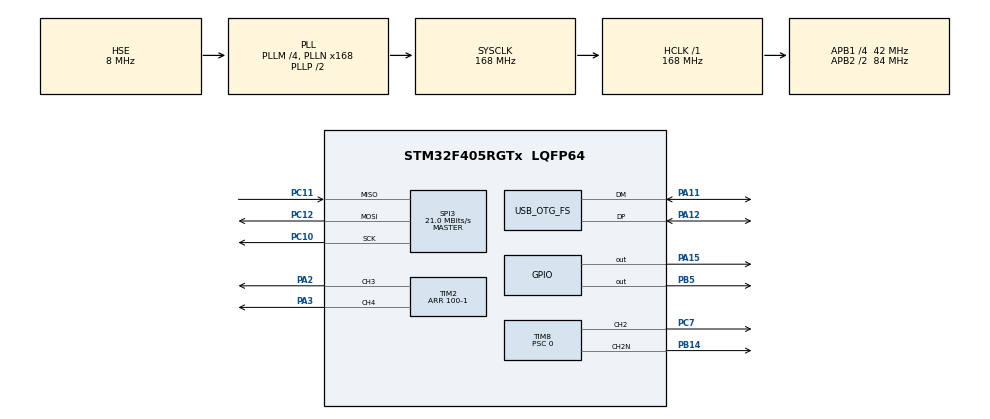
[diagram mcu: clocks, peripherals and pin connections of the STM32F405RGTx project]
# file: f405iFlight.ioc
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FREERTOS.Tasks01=defaultTask,24,128,StartDefaultTask,Default,NULL,Dynamic,NULL,NULL;UsbResponseTask,8,128,StartUsbResponseTask,Default,NULL,Dynamic,NULL,NULL
FREERTOS.configUSE_NEWLIB_REENTRANT=1
Mcu.Family=STM32F4
Mcu.Name=STM32F405RGTx
Mcu.Package=LQFP64
NVIC.OTG_FS_IRQn=true\:5\:0\:false\:false\:true\:true\:false\:true\:true
NVIC.PriorityGroup=NVIC_PRIORITYGROUP_4
PA11.Mode=Device_Only
PA11.Signal=USB_OTG_FS_DM
PA12.Mode=Device_Only
PA12.Signal=USB_OTG_FS_DP
PA15.Signal=GPIO_Output
PA2.Signal=S_TIM2_CH3
PA3.Signal=S_TIM2_CH4
PB14.Mode=PWM Generation2 CH2 CH2N
PB14.Signal=TIM8_CH2N
PB5.PinState=GPIO_PIN_SET
PB5.Signal=GPIO_Output
PC10.Mode=Full_Duplex_Master
PC10.Signal=SPI3_SCK
PC11.Mode=Full_Duplex_Master
PC11.Signal=SPI3_MISO
PC12.Mode=Full_Duplex_Master
PC12.Signal=SPI3_MOSI
PC7.Signal=S_TIM8_CH2
PH0-OSC_IN.Mode=HSE-External-Oscillator
PH0-OSC_IN.Signal=RCC_OSC_IN
PH1-OSC_OUT.Mode=HSE-External-Oscillator
PH1-OSC_OUT.Signal=RCC_OSC_OUT
ProjectManager.HeapSize=0x800
ProjectManager.StackSize=0x800
ProjectManager.TargetToolchain=STM32CubeIDE
RCC.48MHZClocksFreq_Value=48000000
RCC.AHBFreq_Value=168000000
RCC.APB1CLKDivider=RCC_HCLK_DIV4
RCC.APB1Freq_Value=42000000
RCC.APB1TimFreq_Value=84000000
RCC.APB2CLKDivider=RCC_HCLK_DIV2
RCC.APB2Freq_Value=84000000
RCC.APB2TimFreq_Value=168000000
RCC.CortexFreq_Value=168000000
RCC.HCLKFreq_Value=168000000
RCC.HSE_VALUE=8000000
RCC.HSI_VALUE=16000000
RCC.LSE_VALUE=32768
RCC.PLLM=4
RCC.PLLN=168
RCC.PLLQ=7
RCC.SYSCLKFreq_VALUE=168000000
RCC.SYSCLKSource=RCC_SYSCLKSOURCE_PLLCLK
RCC.VCOOutputFreq_Value=336000000
SH.S_TIM2_CH3.0=TIM2_CH3,PWM Generation3 CH3
SH.S_TIM2_CH4.0=TIM2_CH4,PWM Generation4 CH4
SH.S_TIM8_CH2.0=TIM8_CH2,PWM Generation2 CH2 CH2N
SPI3.CalculateBaudRate=21.0 MBits/s
SPI3.Direction=SPI_DIRECTION_2LINES
SPI3.Mode=SPI_MODE_MASTER
SPI3.VirtualType=VM_MASTER
TIM2.AutoReloadPreload=TIM_AUTORELOAD_PRELOAD_ENABLE
TIM2.Channel-PWM\ Generation3\ CH3=TIM_CHANNEL_3
TIM2.Channel-PWM\ Generation4\ CH4=TIM_CHANNEL_4
TIM2.ClockDivision=TIM_CLOCKDIVISION_DIV1
TIM2.Period=100-1
TIM2.Pulse-PWM\ Generation3\ CH3=50
TIM2.Pulse-PWM\ Generation4\ CH4=50
TIM8.AutoReloadPreload=TIM_AUTORELOAD_PRELOAD_DISABLE
TIM8.Channel-PWM\ Generation2\ CH2\ CH2N=TIM_CHANNEL_2
TIM8.DeadTime=13
TIM8.Period=1000
TIM8.Prescaler=0
TIM8.Pulse-PWM\ Generation2\ CH2\ CH2N=500
USB_DEVICE.CLASS_NAME_FS=CDC
USB_DEVICE.VirtualMode-CDC_FS=Cdc
USB_DEVICE.VirtualModeFS=Cdc_FS
USB_OTG_FS.VirtualMode=Device_Only
VP_FREERTOS_VS_CMSIS_V2.Mode=CMSIS_V2
VP_TIM2_VS_ClockSourceINT.Mode=Internal
VP_TIM8_VS_ClockSourceINT.Mode=Internal
VP_USB_DEVICE_VS_USB_DEVICE_CDC_FS.Mode=CDC_FS
board=custom

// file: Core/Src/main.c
/* USER CODE BEGIN Header */
/**
  ******************************************************************************
  * @file           : main.c
  * @brief          : Main program body
  ******************************************************************************
  * @attention
  *
  * Copyright (c) 2022 STMicroelectronics.
  * All rights reserved.
  *
  * This software is licensed under terms that can be found in the LICENSE file
  * in the root directory of this software component.
  * If no LICENSE file comes with this software, it is provided AS-IS.
  *
  ******************************************************************************
  */
/* USER CODE END Header */
#include "main.h"
#include "cmsis_os.h"
#include "usb_device.h"

/* USER CODE BEGIN Includes */
#include "usbd_cdc_if.h"
#include "drv_reset.h"
#include "w25qxx.h"
/* USER CODE END Includes */

/* USER CODE BEGIN PD */
#define DUTY_FLESH_OFFSET 0
#define FREQUENCY_FLESH_OFFSET 4
#define DEADTIME_FLESH_OFFSET 8
/* USER CODE END PD */

SPI_HandleTypeDef hspi3;

TIM_HandleTypeDef htim2;
TIM_HandleTypeDef htim8;

/* Definitions for defaultTask */
osThreadId_t defaultTaskHandle;
const osThreadAttr_t defaultTask_attributes = {
  .name = "defaultTask",
  .stack_size = 128 * 4,
  .priority = (osPriority_t) osPriorityNormal,
};
/* Definitions for UsbResponseTask */
osThreadId_t UsbResponseTaskHandle;
const osThreadAttr_t UsbResponseTask_attributes = {
  .name = "UsbResponseTask",
  .stack_size = 128 * 4,
  .priority = (osPriority_t) osPriorityLow,
};

void SystemClock_Config(void);
static void MX_GPIO_Init(void);
static void MX_TIM2_Init(void);
static void MX_TIM8_Init(void);
static void MX_SPI3_Init(void);
void StartDefaultTask(void *argument);
void StartUsbResponseTask(void *argument);

/* USER CODE BEGIN 0 */
extern uint8_t buffer[64];
static uint8_t responseBuffer[32];
static uint8_t fleshBuffer[4];
/* USER CODE END 0 */

int main(void)
{

  /* MCU Configuration--------------------------------------------------------*/

  /* Reset of all peripherals, Initializes the Flash interface and the Systick. */
  HAL_Init();

  /* Configure the system clock */
  SystemClock_Config();

  /* Initialize all configured peripherals */
  MX_GPIO_Init();
  MX_TIM2_Init();
  MX_TIM8_Init();
  MX_SPI3_Init();
  /* USER CODE BEGIN 2 */

//  HAL_TIM_PWM_Start(&htim8, TIM_CHANNEL_1);
//  HAL_TIMEx_PWMN_Start(&htim8, TIM_CHANNEL_1);
  HAL_TIM_PWM_Start(&htim8, TIM_CHANNEL_2);
  HAL_TIMEx_PWMN_Start(&htim8, TIM_CHANNEL_2);
//  HAL_TIM_PWM_Start(&htim8, TIM_CHANNEL_3);
//  HAL_TIMEx_PWMN_Start(&htim8, TIM_CHANNEL_3);

	HAL_TIM_Base_Start(&htim2);
	HAL_TIM_PWM_Start(&htim2, TIM_CHANNEL_3);
	HAL_TIM_PWM_Start(&htim2, TIM_CHANNEL_4);

  /* USER CODE END 2 */

  /* Init scheduler */
  osKernelInitialize();

  /* Create the thread(s) */
  /* creation of defaultTask */
  defaultTaskHandle = osThreadNew(StartDefaultTask, NULL, &defaultTask_attributes);

  /* creation of UsbResponseTask */
  UsbResponseTaskHandle = osThreadNew(StartUsbResponseTask, NULL, &UsbResponseTask_attributes);

  /* Start scheduler */
  osKernelStart();

  /* We should never get here as control is now taken by the scheduler */
  /* Infinite loop */
  while (1)
  {

  }
}

void SystemClock_Config(void)
{
  RCC_OscInitTypeDef RCC_OscInitStruct = {0};
  RCC_ClkInitTypeDef RCC_ClkInitStruct = {0};

  /** Configure the main internal regulator output voltage
  */
  __HAL_RCC_PWR_CLK_ENABLE();
  __HAL_PWR_VOLTAGESCALING_CONFIG(PWR_REGULATOR_VOLTAGE_SCALE1);

  /** Initializes the RCC Oscillators according to the specified parameters
  * in the RCC_OscInitTypeDef structure.
  */
  RCC_OscInitStruct.OscillatorType = RCC_OSCILLATORTYPE_HSE;
  RCC_OscInitStruct.HSEState = RCC_HSE_ON;
  RCC_OscInitStruct.PLL.PLLState = RCC_PLL_ON;
  RCC_OscInitStruct.PLL.PLLSource = RCC_PLLSOURCE_HSE;
  RCC_OscInitStruct.PLL.PLLM = 4;
  RCC_OscInitStruct.PLL.PLLN = 168;
  RCC_OscInitStruct.PLL.PLLP = RCC_PLLP_DIV2;
  RCC_OscInitStruct.PLL.PLLQ = 7;
  if (HAL_RCC_OscConfig(&RCC_OscInitStruct) != HAL_OK)
  {
    Error_Handler();
  }

  /** Initializes the CPU, AHB and APB buses clocks
  */
  RCC_ClkInitStruct.ClockType = RCC_CLOCKTYPE_HCLK|RCC_CLOCKTYPE_SYSCLK
                              |RCC_CLOCKTYPE_PCLK1|RCC_CLOCKTYPE_PCLK2;
  RCC_ClkInitStruct.SYSCLKSource = RCC_SYSCLKSOURCE_PLLCLK;
  RCC_ClkInitStruct.AHBCLKDivider = RCC_SYSCLK_DIV1;
  RCC_ClkInitStruct.APB1CLKDivider = RCC_HCLK_DIV4;
  RCC_ClkInitStruct.APB2CLKDivider = RCC_HCLK_DIV2;

  if (HAL_RCC_ClockConfig(&RCC_ClkInitStruct, FLASH_LATENCY_5) != HAL_OK)
  {
    Error_Handler();
  }
}

static void MX_SPI3_Init(void)
{

  /* SPI3 parameter configuration*/
  hspi3.Instance = SPI3;
  hspi3.Init.Mode = SPI_MODE_MASTER;
  hspi3.Init.Direction = SPI_DIRECTION_2LINES;
  hspi3.Init.DataSize = SPI_DATASIZE_8BIT;
  hspi3.Init.CLKPolarity = SPI_POLARITY_LOW;
  hspi3.Init.CLKPhase = SPI_PHASE_1EDGE;
  hspi3.Init.NSS = SPI_NSS_SOFT;
  hspi3.Init.BaudRatePrescaler = SPI_BAUDRATEPRESCALER_2;
  hspi3.Init.FirstBit = SPI_FIRSTBIT_MSB;
  hspi3.Init.TIMode = SPI_TIMODE_DISABLE;
  hspi3.Init.CRCCalculation = SPI_CRCCALCULATION_DISABLE;
  hspi3.Init.CRCPolynomial = 10;
  if (HAL_SPI_Init(&hspi3) != HAL_OK)
  {
    Error_Handler();
  }

}

static void MX_TIM2_Init(void)
{

  TIM_ClockConfigTypeDef sClockSourceConfig = {0};
  TIM_MasterConfigTypeDef sMasterConfig = {0};
  TIM_OC_InitTypeDef sConfigOC = {0};

  htim2.Instance = TIM2;
  htim2.Init.Prescaler = 0;
  htim2.Init.CounterMode = TIM_COUNTERMODE_UP;
  htim2.Init.Period = 100-1;
  htim2.Init.ClockDivision = TIM_CLOCKDIVISION_DIV1;
  htim2.Init.AutoReloadPreload = TIM_AUTORELOAD_PRELOAD_ENABLE;
  if (HAL_TIM_Base_Init(&htim2) != HAL_OK)
  {
    Error_Handler();
  }
  sClockSourceConfig.ClockSource = TIM_CLOCKSOURCE_INTERNAL;
  if (HAL_TIM_ConfigClockSource(&htim2, &sClockSourceConfig) != HAL_OK)
  {
    Error_Handler();
  }
  if (HAL_TIM_PWM_Init(&htim2) != HAL_OK)
  {
    Error_Handler();
  }
  sMasterConfig.MasterOutputTrigger = TIM_TRGO_RESET;
  sMasterConfig.MasterSlaveMode = TIM_MASTERSLAVEMODE_DISABLE;
  if (HAL_TIMEx_MasterConfigSynchronization(&htim2, &sMasterConfig) != HAL_OK)
  {
    Error_Handler();
  }
  sConfigOC.OCMode = TIM_OCMODE_PWM1;
  sConfigOC.Pulse = 50;
  sConfigOC.OCPolarity = TIM_OCPOLARITY_HIGH;
  sConfigOC.OCFastMode = TIM_OCFAST_DISABLE;
  if (HAL_TIM_PWM_ConfigChannel(&htim2, &sConfigOC, TIM_CHANNEL_3) != HAL_OK)
  {
    Error_Handler();
  }
  if (HAL_TIM_PWM_ConfigChannel(&htim2, &sConfigOC, TIM_CHANNEL_4) != HAL_OK)
  {
    Error_Handler();
  }
  HAL_TIM_MspPostInit(&htim2);

}

static void MX_TIM8_Init(void)
{

  TIM_ClockConfigTypeDef sClockSourceConfig = {0};
  TIM_MasterConfigTypeDef sMasterConfig = {0};
  TIM_OC_InitTypeDef sConfigOC = {0};
  TIM_BreakDeadTimeConfigTypeDef sBreakDeadTimeConfig = {0};

  htim8.Instance = TIM8;
  htim8.Init.Prescaler = 0;
  htim8.Init.CounterMode = TIM_COUNTERMODE_UP;
  htim8.Init.Period = 1000;
  htim8.Init.ClockDivision = TIM_CLOCKDIVISION_DIV1;
  htim8.Init.RepetitionCounter = 0;
  htim8.Init.AutoReloadPreload = TIM_AUTORELOAD_PRELOAD_DISABLE;
  if (HAL_TIM_Base_Init(&htim8) != HAL_OK)
  {
    Error_Handler();
  }
  sClockSourceConfig.ClockSource = TIM_CLOCKSOURCE_INTERNAL;
  if (HAL_TIM_ConfigClockSource(&htim8, &sClockSourceConfig) != HAL_OK)
  {
    Error_Handler();
  }
  if (HAL_TIM_PWM_Init(&htim8) != HAL_OK)
  {
    Error_Handler();
  }
  sMasterConfig.MasterOutputTrigger = TIM_TRGO_RESET;
  sMasterConfig.MasterSlaveMode = TIM_MASTERSLAVEMODE_DISABLE;
  if (HAL_TIMEx_MasterConfigSynchronization(&htim8, &sMasterConfig) != HAL_OK)
  {
    Error_Handler();
  }
  sConfigOC.OCMode = TIM_OCMODE_PWM1;
  sConfigOC.Pulse = 500;
  sConfigOC.OCPolarity = TIM_OCPOLARITY_HIGH;
  sConfigOC.OCNPolarity = TIM_OCNPOLARITY_HIGH;
  sConfigOC.OCFastMode = TIM_OCFAST_DISABLE;
  sConfigOC.OCIdleState = TIM_OCIDLESTATE_RESET;
  sConfigOC.OCNIdleState = TIM_OCNIDLESTATE_RESET;
  if (HAL_TIM_PWM_ConfigChannel(&htim8, &sConfigOC, TIM_CHANNEL_2) != HAL_OK)
  {
    Error_Handler();
  }
  sBreakDeadTimeConfig.OffStateRunMode = TIM_OSSR_DISABLE;
  sBreakDeadTimeConfig.OffStateIDLEMode = TIM_OSSI_DISABLE;
  sBreakDeadTimeConfig.LockLevel = TIM_LOCKLEVEL_OFF;
  sBreakDeadTimeConfig.DeadTime = 13;
  sBreakDeadTimeConfig.BreakState = TIM_BREAK_DISABLE;
  sBreakDeadTimeConfig.BreakPolarity = TIM_BREAKPOLARITY_HIGH;
  sBreakDeadTimeConfig.AutomaticOutput = TIM_AUTOMATICOUTPUT_DISABLE;
  if (HAL_TIMEx_ConfigBreakDeadTime(&htim8, &sBreakDeadTimeConfig) != HAL_OK)
  {
    Error_Handler();
  }
  HAL_TIM_MspPostInit(&htim8);

}

static void MX_GPIO_Init(void)
{
  GPIO_InitTypeDef GPIO_InitStruct = {0};

  /* GPIO Ports Clock Enable */
  __HAL_RCC_GPIOH_CLK_ENABLE();
  __HAL_RCC_GPIOA_CLK_ENABLE();
  __HAL_RCC_GPIOB_CLK_ENABLE();
  __HAL_RCC_GPIOC_CLK_ENABLE();

  /*Configure GPIO pin Output Level */
  HAL_GPIO_WritePin(GPIOA, GPIO_PIN_15, GPIO_PIN_RESET);

  /*Configure GPIO pin Output Level */
  HAL_GPIO_WritePin(GPIOB, GPIO_PIN_5, GPIO_PIN_SET);

  /*Configure GPIO pin : PA15 */
  GPIO_InitStruct.Pin = GPIO_PIN_15;
  GPIO_InitStruct.Mode = GPIO_MODE_OUTPUT_PP;
  GPIO_InitStruct.Pull = GPIO_NOPULL;
  GPIO_InitStruct.Speed = GPIO_SPEED_FREQ_LOW;
  HAL_GPIO_Init(GPIOA, &GPIO_InitStruct);

  /*Configure GPIO pin : PB5 */
  GPIO_InitStruct.Pin = GPIO_PIN_5;
  GPIO_InitStruct.Mode = GPIO_MODE_OUTPUT_PP;
  GPIO_InitStruct.Pull = GPIO_NOPULL;
  GPIO_InitStruct.Speed = GPIO_SPEED_FREQ_LOW;
  HAL_GPIO_Init(GPIOB, &GPIO_InitStruct);

}

/* USER CODE BEGIN 4 */
int prefix(const char *pre, const char *str)
{
    return strncmp(pre, str, strlen(pre)) == 0;
}
/* USER CODE END 4 */

void StartDefaultTask(void *argument)
{
  /* init code for USB_DEVICE */
  MX_USB_DEVICE_Init();
  for(;;)
  {
    osDelay(1);
  }
}

void StartUsbResponseTask(void *argument)
{
  /* USER CODE BEGIN StartUsbResponseTask */
  W25qxx_Init();
  memset(fleshBuffer, '\0', sizeof(uint8_t) * sizeof(fleshBuffer));

//  W25qxx_ReadBlock(fleshBuffer, 0, DUTY_FLESH_OFFSET, 4);
//  if ((!fleshBuffer[0]) != 0) {
//    snprintf(fleshBuffer, sizeof fleshBuffer, "%f", 50.0f * TIM8->ARR);
//    W25qxx_WriteBlock(fleshBuffer, 0, DUTY_FLESH_OFFSET, 4);
//  } else {
//    __HAL_TIM_SET_COMPARE(&htim8, TIM_CHANNEL_2, *(uint8_t*)fleshBuffer * TIM8->ARR);
//  }

//  FREQUENCY_FLESH_OFFSET
//  DEADTIME_FLESH_OFFSET
  /* Infinite loop */
  for(;;)
  {
    if (strcmp(buffer, "boot_dfu") == 0)
    {
      snprintf(responseBuffer, sizeof(responseBuffer), "%s", "Boot into DFU");
      CDC_Transmit_FS((uint8_t *) responseBuffer, strlen(responseBuffer));
      HAL_GPIO_WritePin(GPIOB, GPIO_PIN_5, GPIO_PIN_RESET);
      HAL_Delay(100);
      machine_bootloader();
    }

    if (strcmp(buffer, "pwm_info") == 0)
    {
      static char buffDuty[16];
      static char buffFreq[16];

      sprintf((char *) buffDuty, "duty: %.2g%%\n", ((double) TIM8->CCR2 / TIM8->ARR) * 100);
      sprintf((char *) buffFreq, "freq: %gKHz\n", (double) (HAL_RCC_GetPCLK2Freq() * 2) / ((TIM8->ARR + 1) * TIM8->PSC) / 1000);
      snprintf(responseBuffer, sizeof(responseBuffer), "%s%s", buffDuty, buffFreq);
      CDC_Transmit_FS((uint8_t *) responseBuffer, strlen(responseBuffer));
      memset(buffer, '\0', sizeof(char) * sizeof(buffer));
      continue;
    }

    if (strcmp(buffer, "led_on") == 0)
    {
      HAL_GPIO_WritePin(GPIOB, GPIO_PIN_5, GPIO_PIN_RESET);
      snprintf(responseBuffer, sizeof(responseBuffer), "%s", "LED on");
      CDC_Transmit_FS((uint8_t *) responseBuffer, strlen(responseBuffer));
      memset(buffer, '\0', sizeof(char) * sizeof(buffer));
      continue;
    }
    if (strcmp(buffer, "led_off") == 0)
    {
      HAL_GPIO_WritePin(GPIOB, GPIO_PIN_5, GPIO_PIN_SET);
      snprintf(responseBuffer, sizeof(responseBuffer), "%s", "led_off");
      CDC_Transmit_FS((uint8_t *) responseBuffer, strlen(responseBuffer));
      memset(buffer, '\0', sizeof(char) * sizeof(buffer));
      continue;
    }
    if (strcmp(buffer, "dti") == 0)
    {
      snprintf(responseBuffer, sizeof(responseBuffer), "BDTR :%lu", TIM8->BDTR);
      CDC_Transmit_FS((uint8_t *) responseBuffer, strlen(responseBuffer));
      memset(buffer, '\0', sizeof(char) * sizeof(buffer));
      continue;
    }
    if (strcmp(buffer, "flesh_test") == 0)
    {
      W25qxx_ReadBlock(fleshBuffer, 0, DUTY_FLESH_OFFSET, 4);
      if (fleshBuffer && !fleshBuffer[0]) {
        snprintf(fleshBuffer, sizeof fleshBuffer, "%f", 50.0f * TIM8->ARR);
        W25qxx_WriteBlock(fleshBuffer, 0, DUTY_FLESH_OFFSET, 4);
      } else {
        __HAL_TIM_SET_COMPARE(&htim8, TIM_CHANNEL_2, atoff(&fleshBuffer) * TIM8->ARR);
      }
//      W25qxx_EraseBlock(0);
//      W25qxx_WriteBlock(fleshBuffer, 0, 0, 4);
//      memset(responseBuffer, '\0', sizeof(char) * sizeof(responseBuffer));
//      W25qxx_ReadBlock(responseBuffer, 0, 0, 4);
      CDC_Transmit_FS((uint8_t *) fleshBuffer, strlen(fleshBuffer));
      memset(buffer, '\0', sizeof(char) * sizeof(buffer));
      continue;
    }
    if (strcmp(buffer, "size_test") == 0)
    {
      W25qxx_EraseChip();
      sprintf((char *) responseBuffer, "int: %d, float %d\n", sizeof (int), sizeof (float));
      CDC_Transmit_FS((uint8_t *) responseBuffer, strlen(responseBuffer));
      memset(buffer, '\0', sizeof(char) * sizeof(buffer));
      continue;
    }

    if (prefix("d ", buffer))
    {
      float duty = (float) (atoi(buffer + 2) + 2) / 100;
      __HAL_TIM_SET_COMPARE(&htim8, TIM_CHANNEL_2, duty * TIM8->ARR);

      snprintf(fleshBuffer, sizeof fleshBuffer, "%f", duty);
      W25qxx_WriteBlock(fleshBuffer, 0, DUTY_FLESH_OFFSET, 4);

      snprintf(responseBuffer, sizeof(responseBuffer), "duty: %.2g%%\n", ((double) TIM8->CCR2 / TIM8->ARR) * 100);
      CDC_Transmit_FS((uint8_t *) responseBuffer, strlen(responseBuffer));
      memset(buffer, '\0', sizeof(char) * sizeof(buffer));
      continue;
    }
    if (prefix("f ", buffer))
    {
      int frequecy = atoi(buffer + 2);
      TIM8->ARR = frequecy;

      snprintf(fleshBuffer, sizeof fleshBuffer, "%d", frequecy);
      W25qxx_WriteBlock(fleshBuffer, 0, FREQUENCY_FLESH_OFFSET, 4);

      snprintf(responseBuffer, sizeof(responseBuffer), "%s %d", "frequecy:", frequecy);
      CDC_Transmit_FS((uint8_t *) responseBuffer, strlen(responseBuffer));
      memset(buffer, '\0', sizeof(char) * sizeof(buffer));
      continue;
    }
    if (prefix("dt ", buffer))
    {
      int deadtime = atoi(buffer + 3);
      TIM8->BDTR = 40960 + deadtime;

      snprintf(fleshBuffer, sizeof fleshBuffer, "%d", deadtime);
      W25qxx_WriteBlock(fleshBuffer, 0, DEADTIME_FLESH_OFFSET, 4);

      snprintf(responseBuffer, sizeof(responseBuffer), "%s %lu", "deadtime:", TIM8->BDTR - 40960);
      CDC_Transmit_FS((uint8_t *) responseBuffer, strlen(responseBuffer));
      memset(buffer, '\0', sizeof(char) * sizeof(buffer));
      continue;
    }
  }
  /* USER CODE END StartUsbResponseTask */
}

void Error_Handler(void)
{
  __disable_irq();
  while (1)
  {
  }
}
